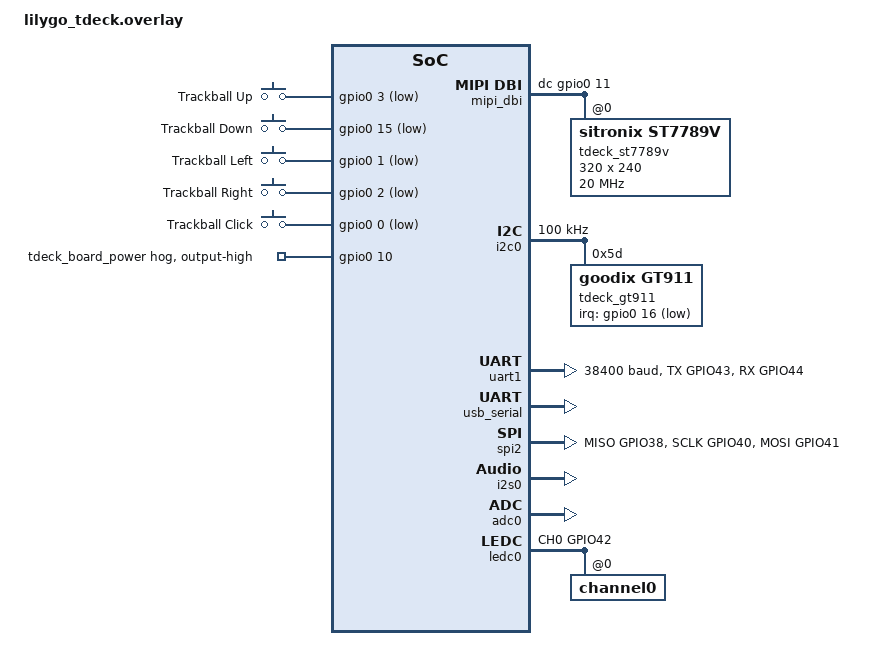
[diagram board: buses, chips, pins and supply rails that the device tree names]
/*
 * LilyGo T-Deck adaptation overlay layered on top of the upstream
 * esp32s3_devkitc SoC target. The resident Aegis runtime drives display and
 * input mostly through board-aware backends, so this overlay focuses on buses,
 * aliases, and base pin routing.
 */

#include <zephyr/dt-bindings/i2c/i2c.h>
#include <zephyr/dt-bindings/mipi_dbi/mipi_dbi.h>
#include <zephyr/dt-bindings/pinctrl/esp32s3-pinctrl.h>

/ {
	chosen {
		zephyr,display = &tdeck_st7789v;
		zephyr,console = &usb_serial;
		zephyr,shell-uart = &usb_serial;
	};

	aliases {
		display0 = &tdeck_st7789v;
		touch0 = &tdeck_gt911;
		lora0 = &spi2;
		gps0 = &uart1;
		audioout0 = &i2s0;
		audioin0 = &i2s0;
		rtc0 = &i2c0;
		battery0 = &i2c0;
		hostlink0 = &uart0;
		rotary0 = &tdeck_trackball;
	};

	mipi_dbi {
		compatible = "zephyr,mipi-dbi-spi";
		status = "okay";
		spi-dev = <&spi2>;
		dc-gpios = <&gpio0 11 GPIO_ACTIVE_HIGH>;
		write-only;
		#address-cells = <1>;
		#size-cells = <0>;

		tdeck_st7789v: st7789v@0 {
			compatible = "sitronix,st7789v";
			reg = <0>;
			status = "okay";
			mipi-max-frequency = <20000000>;
			width = <320>;
			height = <240>;
			x-offset = <0>;
			y-offset = <0>;
			vcom = <0x1A>;
			gctrl = <0x75>;
			vrhs = <0x2C>;
			vdvs = <0x20>;
			mdac = <0x60>;
			gamma = <0x01>;
			colmod = <0x55>;
			lcm = <0x13>;
			porch-param = [0C 0C 00 33 33];
			cmd2en-param = [5A 69 02 01];
			pwctrl1-param = [A4 A1];
			pvgam-param = [D0 0D 14 0D 0D 09 38 44 4E 3A 17 18 2F 30];
			nvgam-param = [D0 09 0F 08 07 14 37 44 4D 38 15 16 2C 3E];
			ram-param = [00 F0];
			rgb-param = [40 02 14];
			mipi-mode = "MIPI_DBI_MODE_SPI_4WIRE";
		};
	};

	tdeck_trackball: gpio-keys {
		compatible = "gpio-keys";

		trackball_up {
			gpios = <&gpio0 3 GPIO_ACTIVE_LOW>;
			label = "Trackball Up";
			zephyr,code = <103>;
		};

		trackball_down {
			gpios = <&gpio0 15 GPIO_ACTIVE_LOW>;
			label = "Trackball Down";
			zephyr,code = <108>;
		};

		trackball_left {
			gpios = <&gpio0 1 GPIO_ACTIVE_LOW>;
			label = "Trackball Left";
			zephyr,code = <105>;
		};

		trackball_right {
			gpios = <&gpio0 2 GPIO_ACTIVE_LOW>;
			label = "Trackball Right";
			zephyr,code = <106>;
		};

		trackball_click {
			gpios = <&gpio0 0 GPIO_ACTIVE_LOW>;
			label = "Trackball Click";
			zephyr,code = <28>;
		};
	};
};

&pinctrl {
	tdeck_i2c0_default: tdeck_i2c0_default {
		group1 {
			pinmux = <I2C0_SDA_GPIO18>,
				 <I2C0_SCL_GPIO8>;
			bias-pull-up;
			drive-open-drain;
			output-high;
		};
	};

	tdeck_uart1_default: tdeck_uart1_default {
		group1 {
			pinmux = <UART1_TX_GPIO43>;
			output-high;
		};

		group2 {
			pinmux = <UART1_RX_GPIO44>;
			bias-pull-up;
		};
	};

	tdeck_spim2_default: tdeck_spim2_default {
		group1 {
			pinmux = <SPIM2_MISO_GPIO38>,
				 <SPIM2_SCLK_GPIO40>;
		};

		group2 {
			pinmux = <SPIM2_MOSI_GPIO41>;
			output-low;
		};
	};

	tdeck_ledc0_default: tdeck_ledc0_default {
		group1 {
			pinmux = <LEDC_CH0_GPIO42>;
			output-low;
		};
	};
};

&i2c0 {
	status = "okay";
	clock-frequency = <I2C_BITRATE_STANDARD>;
	pinctrl-0 = <&tdeck_i2c0_default>;
	pinctrl-names = "default";

	tdeck_gt911: touchscreen@5d {
		compatible = "goodix,gt911";
		reg = <0x5d>;
		status = "okay";
		irq-gpios = <&gpio0 16 GPIO_ACTIVE_LOW>;
		alt-addr = <0x14>;
	};
};

&uart1 {
	status = "okay";
	current-speed = <38400>;
	pinctrl-0 = <&tdeck_uart1_default>;
	pinctrl-names = "default";
};

&usb_serial {
	status = "okay";
};

&spi2 {
	#address-cells = <1>;
	#size-cells = <0>;
	status = "okay";
	pinctrl-0 = <&tdeck_spim2_default>;
	pinctrl-names = "default";
	cs-gpios = <&gpio0 12 GPIO_ACTIVE_LOW>;
};

&psram0 {
	size = <DT_SIZE_M(8)>;
};

&i2s0 {
	status = "okay";
};

&adc0 {
	status = "okay";
};

&ledc0 {
	status = "okay";
	pinctrl-0 = <&tdeck_ledc0_default>;
	pinctrl-names = "default";
	#address-cells = <1>;
	#size-cells = <0>;

	channel0@0 {
		reg = <0x0>;
		timer = <0>;
	};
};

&gpio0 {
	tdeck_board_power {
		gpio-hog;
		gpios = <10 GPIO_ACTIVE_HIGH>;
		output-high;
	};
};
